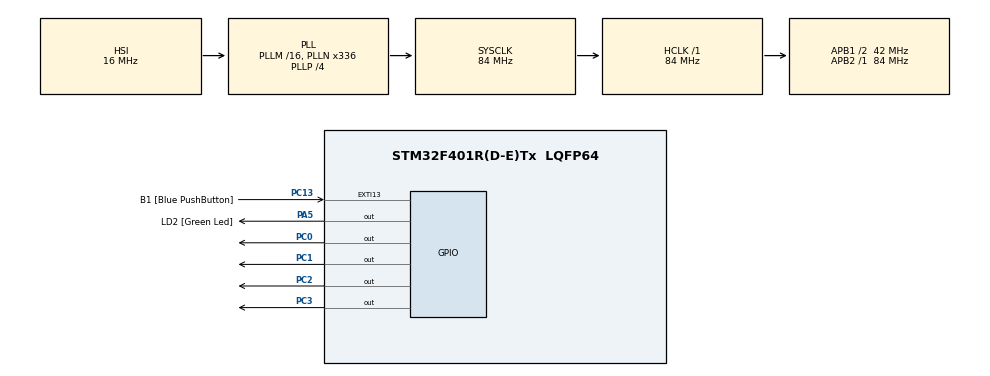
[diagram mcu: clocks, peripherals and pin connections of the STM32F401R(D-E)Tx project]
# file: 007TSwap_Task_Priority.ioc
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Mcu.Family=STM32F4
Mcu.Name=STM32F401R(D-E)Tx
Mcu.Package=LQFP64
NVIC.EXTI15_10_IRQn=true\:7\:0\:true\:false\:true\:true\:true\:true
NVIC.PriorityGroup=NVIC_PRIORITYGROUP_4
NVIC.TIM2_IRQn=true\:0\:0\:false\:false\:true\:false\:true\:true
NVIC.TimeBase=TIM2_IRQn
NVIC.TimeBaseIP=TIM2
PA13.GPIO_Label=TMS
PA13.Signal=SYS_JTMS-SWDIO
PA14.GPIO_Label=TCK
PA14.Signal=SYS_JTCK-SWCLK
PA2.GPIO_Label=USART_TX
PA2.GPIO_Mode=GPIO_MODE_AF_PP
PA2.GPIO_PuPd=GPIO_NOPULL
PA2.GPIO_Speed=GPIO_SPEED_FREQ_LOW
PA2.Signal=USART2_TX
PA3.GPIO_Label=USART_RX
PA3.GPIO_Mode=GPIO_MODE_AF_PP
PA3.GPIO_PuPd=GPIO_NOPULL
PA3.GPIO_Speed=GPIO_SPEED_FREQ_LOW
PA3.Signal=USART2_RX
PA5.GPIO_Label=LD2 [Green Led]
PA5.GPIO_Mode=GPIO_MODE_OUTPUT_PP
PA5.GPIO_PuPd=GPIO_NOPULL
PA5.GPIO_Speed=GPIO_SPEED_FREQ_LOW
PA5.Signal=GPIO_Output
PB3.GPIO_Label=SWO
PB3.Signal=SYS_JTDO-SWO
PC0.Signal=GPIO_Output
PC1.Signal=GPIO_Output
PC13-ANTI_TAMP.GPIO_Label=B1 [Blue PushButton]
PC13-ANTI_TAMP.GPIO_ModeDefaultEXTI=GPIO_MODE_IT_FALLING
PC13-ANTI_TAMP.GPIO_PuPd=GPIO_NOPULL
PC13-ANTI_TAMP.Signal=GPXTI13
PC14-OSC32_IN.Signal=RCC_OSC32_IN
PC15-OSC32_OUT.Signal=RCC_OSC32_OUT
PC2.Signal=GPIO_Output
PC3.Signal=GPIO_Output
PH0\ -\ OSC_IN.Signal=RCC_OSC_IN
PH1\ -\ OSC_OUT.Signal=RCC_OSC_OUT
ProjectManager.HeapSize=0x200
ProjectManager.StackSize=0x400
ProjectManager.TargetToolchain=STM32CubeIDE
RCC.AHBFreq_Value=84000000
RCC.APB1CLKDivider=RCC_HCLK_DIV2
RCC.APB1Freq_Value=42000000
RCC.APB1TimFreq_Value=84000000
RCC.APB2Freq_Value=84000000
RCC.APB2TimFreq_Value=84000000
RCC.CortexFreq_Value=84000000
RCC.HCLKFreq_Value=84000000
RCC.HSE_VALUE=8000000
RCC.HSI_VALUE=16000000
RCC.LSE_VALUE=32768
RCC.PLLN=336
RCC.PLLP=RCC_PLLP_DIV4
RCC.PLLQ=7
RCC.SYSCLKFreq_VALUE=84000000
RCC.SYSCLKSource=RCC_SYSCLKSOURCE_PLLCLK
RCC.VCOOutputFreq_Value=336000000
VP_SYS_VS_tim2.Mode=TIM2
board=NUCLEO-F401RE

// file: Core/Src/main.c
/* USER CODE BEGIN Header */
/**
  ******************************************************************************
  * @file           : main.c
  * @brief          : Main program body
  ******************************************************************************
  * @attention
  *
  * Copyright (c) 2026 STMicroelectronics.
  * All rights reserved.
  *
  * This software is licensed under terms that can be found in the LICENSE file
  * in the root directory of this software component.
  * If no LICENSE file comes with this software, it is provided AS-IS.
  *
  ******************************************************************************
  */
/* USER CODE END Header */
#include "main.h"

/* USER CODE BEGIN Includes */
#include "FreeRTOS.h"
#include "task.h"
#include "semphr.h"

#include "SEGGER_SYSVIEW.h"
#include "SEGGER_RTT.h"
/* USER CODE END Includes */

/* USER CODE BEGIN PD */
#define DWT_CTRL    (*(volatile uint32_t*)0xE0001000)
/* USER CODE END PD */

/* USER CODE BEGIN PV */
SemaphoreHandle_t semTask1;
SemaphoreHandle_t semTask2;

volatile uint8_t current_task = 1;
/* USER CODE END PV */

void SystemClock_Config(void);
static void MX_GPIO_Init(void);
/* USER CODE BEGIN PFP */
static void task1_handler(void *params);
static void task2_handler(void *params);

void button_interrupt_handler(void);
/* USER CODE END PFP */

int main(void)
{

  /* MCU Configuration--------------------------------------------------------*/

  /* Reset of all peripherals, Initializes the Flash interface and the Systick. */
  HAL_Init();

  /* Configure the system clock */
  SystemClock_Config();

  /* Initialize all configured peripherals */
  MX_GPIO_Init();
  /* USER CODE BEGIN 2 */

  SEGGER_UART_init(500000);

  DWT_CTRL |= (1 << 0);

  /* Start SEGGER SystemView */
  SEGGER_SYSVIEW_Conf();
  //SEGGER_SYSVIEW_Start();

  /* Create binary semaphores */
  semTask1 = xSemaphoreCreateBinary();
  semTask2 = xSemaphoreCreateBinary();

  configASSERT(semTask1);
  configASSERT(semTask2);

  /* Task1 start first */
  xSemaphoreGive(semTask1);

  /* Create tasks */
  xTaskCreate(task1_handler, "Task1", 256, NULL, 1, NULL);
  xTaskCreate(task2_handler, "Task2", 256, NULL, 1, NULL);

  /* Start scheduler */
  vTaskStartScheduler();

  /* USER CODE END 2 */

  /* Infinite loop */
  while (1)
  {

  }
}

void SystemClock_Config(void)
{
  RCC_OscInitTypeDef RCC_OscInitStruct = {0};
  RCC_ClkInitTypeDef RCC_ClkInitStruct = {0};

  /** Configure the main internal regulator output voltage
  */
  __HAL_RCC_PWR_CLK_ENABLE();
  __HAL_PWR_VOLTAGESCALING_CONFIG(PWR_REGULATOR_VOLTAGE_SCALE2);

  /** Initializes the RCC Oscillators according to the specified parameters
  * in the RCC_OscInitTypeDef structure.
  */
  RCC_OscInitStruct.OscillatorType = RCC_OSCILLATORTYPE_HSI;
  RCC_OscInitStruct.HSIState = RCC_HSI_ON;
  RCC_OscInitStruct.HSICalibrationValue = RCC_HSICALIBRATION_DEFAULT;
  RCC_OscInitStruct.PLL.PLLState = RCC_PLL_ON;
  RCC_OscInitStruct.PLL.PLLSource = RCC_PLLSOURCE_HSI;
  RCC_OscInitStruct.PLL.PLLM = 16;
  RCC_OscInitStruct.PLL.PLLN = 336;
  RCC_OscInitStruct.PLL.PLLP = RCC_PLLP_DIV4;
  RCC_OscInitStruct.PLL.PLLQ = 7;
  if (HAL_RCC_OscConfig(&RCC_OscInitStruct) != HAL_OK)
  {
    Error_Handler();
  }

  /** Initializes the CPU, AHB and APB buses clocks
  */
  RCC_ClkInitStruct.ClockType = RCC_CLOCKTYPE_HCLK|RCC_CLOCKTYPE_SYSCLK
                              |RCC_CLOCKTYPE_PCLK1|RCC_CLOCKTYPE_PCLK2;
  RCC_ClkInitStruct.SYSCLKSource = RCC_SYSCLKSOURCE_PLLCLK;
  RCC_ClkInitStruct.AHBCLKDivider = RCC_SYSCLK_DIV1;
  RCC_ClkInitStruct.APB1CLKDivider = RCC_HCLK_DIV2;
  RCC_ClkInitStruct.APB2CLKDivider = RCC_HCLK_DIV1;

  if (HAL_RCC_ClockConfig(&RCC_ClkInitStruct, FLASH_LATENCY_2) != HAL_OK)
  {
    Error_Handler();
  }
}

static void MX_GPIO_Init(void)
{
  GPIO_InitTypeDef GPIO_InitStruct = {0};

  /* GPIO Ports Clock Enable */
  __HAL_RCC_GPIOC_CLK_ENABLE();
  __HAL_RCC_GPIOH_CLK_ENABLE();
  __HAL_RCC_GPIOA_CLK_ENABLE();
  __HAL_RCC_GPIOB_CLK_ENABLE();

  /*Configure GPIO pin Output Level */
  HAL_GPIO_WritePin(GPIOC, GPIO_PIN_0|GPIO_PIN_1|GPIO_PIN_2|GPIO_PIN_3, GPIO_PIN_RESET);

  /*Configure GPIO pin Output Level */
  HAL_GPIO_WritePin(LD2_GPIO_Port, LD2_Pin, GPIO_PIN_RESET);

  /*Configure GPIO pin : B1_Pin */
  GPIO_InitStruct.Pin = B1_Pin;
  GPIO_InitStruct.Mode = GPIO_MODE_IT_FALLING;
  GPIO_InitStruct.Pull = GPIO_NOPULL;
  HAL_GPIO_Init(B1_GPIO_Port, &GPIO_InitStruct);

  /*Configure GPIO pins : PC0 PC1 PC2 PC3 */
  GPIO_InitStruct.Pin = GPIO_PIN_0|GPIO_PIN_1|GPIO_PIN_2|GPIO_PIN_3;
  GPIO_InitStruct.Mode = GPIO_MODE_OUTPUT_PP;
  GPIO_InitStruct.Pull = GPIO_NOPULL;
  GPIO_InitStruct.Speed = GPIO_SPEED_FREQ_LOW;
  HAL_GPIO_Init(GPIOC, &GPIO_InitStruct);

  /*Configure GPIO pins : USART_TX_Pin USART_RX_Pin */
  GPIO_InitStruct.Pin = USART_TX_Pin|USART_RX_Pin;
  GPIO_InitStruct.Mode = GPIO_MODE_AF_PP;
  GPIO_InitStruct.Pull = GPIO_NOPULL;
  GPIO_InitStruct.Speed = GPIO_SPEED_FREQ_LOW;
  GPIO_InitStruct.Alternate = GPIO_AF7_USART2;
  HAL_GPIO_Init(GPIOA, &GPIO_InitStruct);

  /*Configure GPIO pin : LD2_Pin */
  GPIO_InitStruct.Pin = LD2_Pin;
  GPIO_InitStruct.Mode = GPIO_MODE_OUTPUT_PP;
  GPIO_InitStruct.Pull = GPIO_NOPULL;
  GPIO_InitStruct.Speed = GPIO_SPEED_FREQ_LOW;
  HAL_GPIO_Init(LD2_GPIO_Port, &GPIO_InitStruct);

  /* EXTI interrupt init*/
  HAL_NVIC_SetPriority(EXTI15_10_IRQn, 7, 0);
  HAL_NVIC_EnableIRQ(EXTI15_10_IRQn);

}

/* USER CODE BEGIN 4 */

static void task1_handler(void *params)
{
    while(1)
    {
        xSemaphoreTake(semTask1, portMAX_DELAY);

        HAL_GPIO_TogglePin(GPIOC, GPIO_PIN_0);

        SEGGER_SYSVIEW_PrintfTarget("Task1 running");

        vTaskDelay(pdMS_TO_TICKS(100));

        if(current_task == 1)
            xSemaphoreGive(semTask1);
    }
}

static void task2_handler(void *params)
{
    while(1)
    {
        xSemaphoreTake(semTask2, portMAX_DELAY);

        HAL_GPIO_TogglePin(GPIOC, GPIO_PIN_1);

        SEGGER_SYSVIEW_PrintfTarget("Task2 running");

        vTaskDelay(pdMS_TO_TICKS(1000));

        if(current_task == 2)
            xSemaphoreGive(semTask2);
    }
}

void button_interrupt_handler(void)
{
    traceISR_ENTER();

    BaseType_t xHigherPriorityTaskWoken = pdFALSE;

    if(current_task == 1)
    {
        current_task = 2;
        xSemaphoreGiveFromISR(semTask2, &xHigherPriorityTaskWoken);
    }
    else
    {
        current_task = 1;
        xSemaphoreGiveFromISR(semTask1, &xHigherPriorityTaskWoken);
    }

    portYIELD_FROM_ISR(xHigherPriorityTaskWoken);

    traceISR_EXIT();
}
/* USER CODE END 4 */

void HAL_TIM_PeriodElapsedCallback(TIM_HandleTypeDef *htim)
{
  if (htim->Instance == TIM2) {
    HAL_IncTick();
  }
}

void Error_Handler(void)
{
  __disable_irq();
  while (1)
  {
  }
}
